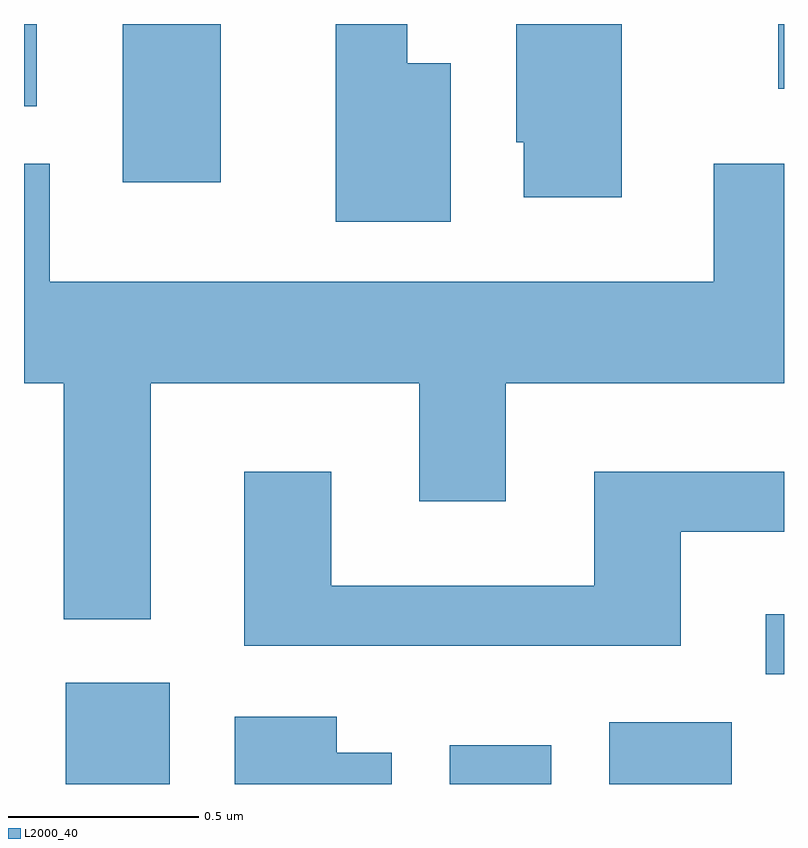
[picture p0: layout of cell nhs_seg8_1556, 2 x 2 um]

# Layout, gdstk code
import gdstk
lib = gdstk.Library(unit=1e-6, precision=1e-09)
def R(c, l, rs):  # rectangles x0, y0, x1, y1
    for r in rs: c.add(gdstk.rectangle(r[:2], r[2:], *l))
def P(c, l, *ps):  # polygons
    for p in ps: c.add(gdstk.Polygon(p, *l))
L2000_40 = (2000, 40)

nhs_seg8_1556 = lib.new_cell('nhs_seg8_1556')
R(nhs_seg8_1556, L2000_40, [(196.721,1855.342,196.994,1855.609), (197.731,1855.342,197.999,1855.444), (198.151,1855.342,198.474,1855.504), (198.563,1855.631,198.611,1855.789), (196.871,1856.926,197.129,1857.342), (196.611,1857.126,196.644,1857.342), (198.596,1857.171,198.611,1857.342)])
P(nhs_seg8_1556, L2000_40, [(197.734,1857.239),(197.619,1857.239),(197.619,1857.342),(197.431,1857.342),(197.431,1856.821),(197.734,1856.821)],
  [(198.184,1857.342),(197.906,1857.342),(197.906,1857.031),(197.926,1857.031),(197.926,1856.886),(198.184,1856.886)],
  [(196.944,1856.396),(197.651,1856.396),(197.651,1856.086),(197.879,1856.086),(197.879,1856.396),(198.611,1856.396),(198.611,1856.974),(198.426,1856.974),(198.426,1856.664),(196.679,1856.664),(196.679,1856.974),(196.611,1856.974),(196.611,1856.396),(196.716,1856.396),(196.716,1855.776),(196.944,1855.776)],
  [(198.339,1856.006),(198.611,1856.006),(198.611,1856.164),(198.111,1856.164),(198.111,1855.864),(197.419,1855.864),(197.419,1856.164),(197.191,1856.164),(197.191,1855.706),(198.339,1855.706)],
  [(197.579,1855.424),(197.434,1855.424),(197.434,1855.519),(197.166,1855.519),(197.166,1855.342),(197.579,1855.342)])

lib.write_gds('nhs_seg8_1556.gds')
